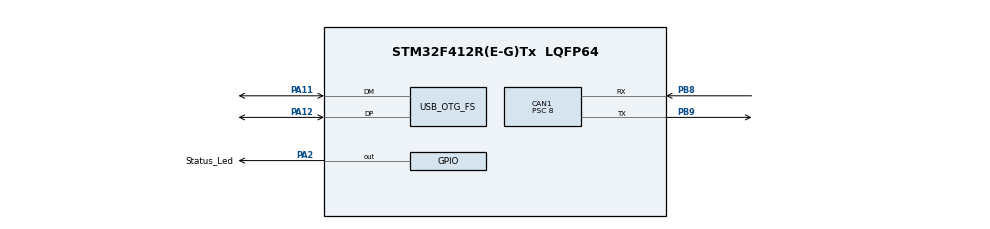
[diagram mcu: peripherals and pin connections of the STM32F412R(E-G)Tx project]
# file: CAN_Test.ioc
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CAN1.BS1=CAN_BS1_2TQ
CAN1.CalculateBaudRate=500000
CAN1.CalculateTimeBit=2000
CAN1.CalculateTimeQuantum=500.0
CAN1.Mode=CAN_MODE_NORMAL
CAN1.NART=ENABLE
CAN1.Prescaler=8
CAN1.TXFP=ENABLE
Mcu.Family=STM32F4
Mcu.Name=STM32F412R(E-G)Tx
Mcu.Package=LQFP64
NVIC.CAN1_RX0_IRQn=true\:0\:0\:false\:false\:true\:true\:true\:true
NVIC.PriorityGroup=NVIC_PRIORITYGROUP_4
PA11.Mode=Device_Only
PA11.Signal=USB_OTG_FS_DM
PA12.Mode=Device_Only
PA12.Signal=USB_OTG_FS_DP
PA13.Mode=Trace_Asynchronous_SW
PA13.Signal=SYS_JTMS-SWDIO
PA14.Mode=Trace_Asynchronous_SW
PA14.Signal=SYS_JTCK-SWCLK
PA2.GPIO_Label=Status_Led
PA2.Signal=GPIO_Output
PB3.Mode=Trace_Asynchronous_SW
PB3.Signal=SYS_JTDO-SWO
PB8.Mode=CAN_Activate
PB8.Signal=CAN1_RX
PB9.Mode=CAN_Activate
PB9.Signal=CAN1_TX
PH0\ -\ OSC_IN.Mode=HSE-External-Oscillator
PH0\ -\ OSC_IN.Signal=RCC_OSC_IN
PH1\ -\ OSC_OUT.Mode=HSE-External-Oscillator
PH1\ -\ OSC_OUT.Signal=RCC_OSC_OUT
ProjectManager.HeapSize=0x200
ProjectManager.StackSize=0x400
ProjectManager.TargetToolchain=STM32CubeIDE
RCC.CortexFreq_Value=16000000
RCC.PLLM=15
RCC.PLLN=144
RCC.PLLQ=5
RCC.USBFreq_Value=48000000
RCC.VCOOutputFreq_Value=240000000
USB_OTG_FS.VirtualMode=Device_Only
board=custom

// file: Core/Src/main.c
/* USER CODE BEGIN Header */
/**
  ******************************************************************************
  * @file           : main.c
  * @brief          : Main program body
  ******************************************************************************
  * @attention
  *
  * Copyright (c) 2022 STMicroelectronics.
  * All rights reserved.
  *
  * This software is licensed under terms that can be found in the LICENSE file
  * in the root directory of this software component.
  * If no LICENSE file comes with this software, it is provided AS-IS.
  *
  ******************************************************************************
  */
/* USER CODE END Header */
#include "main.h"

/* USER CODE BEGIN PD */
#define MASTER
//#define SLAVE
/* USER CODE END PD */

CAN_HandleTypeDef hcan1;

PCD_HandleTypeDef hpcd_USB_OTG_FS;

void SystemClock_Config(void);
static void MX_GPIO_Init(void);
static void MX_CAN1_Init(void);
static void MX_USB_OTG_FS_PCD_Init(void);

/* USER CODE BEGIN 0 */
CAN_TxHeaderTypeDef	TxHeader;
CAN_RxHeaderTypeDef RxHeader;
uint8_t TxData[8];
uint8_t RxData[8];

uint32_t TxMailbox;

/* USER CODE END 0 */

int main(void)
{

  /* MCU Configuration--------------------------------------------------------*/

  /* Reset of all peripherals, Initializes the Flash interface and the Systick. */
  HAL_Init();

  /* Configure the system clock */
  SystemClock_Config();

  /* Initialize all configured peripherals */
  MX_GPIO_Init();
  MX_CAN1_Init();
  MX_USB_OTG_FS_PCD_Init();
  /* USER CODE BEGIN 2 */
  HAL_CAN_Start(&hcan1);

  HAL_CAN_ActivateNotification(&hcan1,CAN_IT_RX_FIFO0_MSG_PENDING);
  HAL_GPIO_WritePin(GPIOA,GPIO_PIN_2,SET);
  HAL_Delay(500);
  HAL_GPIO_WritePin(GPIOA,GPIO_PIN_2,RESET);
  HAL_Delay(500);
  TxHeader.DLC = 2;  // data length
  TxHeader.IDE = CAN_ID_STD;
  TxHeader.RTR = CAN_RTR_DATA;
  TxData[0] = 0x10;
  TxData[1] = 0x11;

#ifdef MASTER
  TxHeader.StdId = 0x103;  // ID
  HAL_GPIO_WritePin(GPIOA,GPIO_PIN_2,SET);
  HAL_CAN_AddTxMessage(&hcan1,&TxHeader,TxData,&TxMailbox);
#else
  TxHeader.StdId = 0x446;  // ID
#endif
  /* USER CODE END 2 */
uint32_t No_Msgs;
uint32_t No1_Msgs;
  /* Infinite loop */
  while (1)
  {
#ifdef MASTER
	  HAL_Delay(1000);
	  HAL_CAN_AddTxMessage(&hcan1,&TxHeader,TxData,&TxMailbox);
#else
	  /*No_Msgs = HAL_CAN_GetRxFifoFillLevel(&hcan1,CAN_RX_FIFO0);
	  No1_Msgs = HAL_CAN_GetRxFifoFillLevel(&hcan1,CAN_RX_FIFO1);
	  if (No_Msgs > 0 ){
		  HAL_CAN_GetRxMessage(&hcan1,CAN_RX_FIFO0, &RxHeader, RxData);

	  if (RxHeader.DLC > 1)
	  {
		  if (RxData[0] == 0x10)
			  	HAL_GPIO_TogglePin(GPIOA,GPIO_PIN_2);
	  }
  }*/
	 // HAL_Delay(2000);

#endif
  }
}

void SystemClock_Config(void)
{
  RCC_OscInitTypeDef RCC_OscInitStruct = {0};
  RCC_ClkInitTypeDef RCC_ClkInitStruct = {0};

  /** Configure the main internal regulator output voltage
  */
  __HAL_RCC_PWR_CLK_ENABLE();
  __HAL_PWR_VOLTAGESCALING_CONFIG(PWR_REGULATOR_VOLTAGE_SCALE1);

  /** Initializes the RCC Oscillators according to the specified parameters
  * in the RCC_OscInitTypeDef structure.
  */
  RCC_OscInitStruct.OscillatorType = RCC_OSCILLATORTYPE_HSI|RCC_OSCILLATORTYPE_HSE;
  RCC_OscInitStruct.HSEState = RCC_HSE_ON;
  RCC_OscInitStruct.HSIState = RCC_HSI_ON;
  RCC_OscInitStruct.HSICalibrationValue = RCC_HSICALIBRATION_DEFAULT;
  RCC_OscInitStruct.PLL.PLLState = RCC_PLL_ON;
  RCC_OscInitStruct.PLL.PLLSource = RCC_PLLSOURCE_HSE;
  RCC_OscInitStruct.PLL.PLLM = 15;
  RCC_OscInitStruct.PLL.PLLN = 144;
  RCC_OscInitStruct.PLL.PLLP = RCC_PLLP_DIV2;
  RCC_OscInitStruct.PLL.PLLQ = 5;
  RCC_OscInitStruct.PLL.PLLR = 2;
  if (HAL_RCC_OscConfig(&RCC_OscInitStruct) != HAL_OK)
  {
    Error_Handler();
  }

  /** Initializes the CPU, AHB and APB buses clocks
  */
  RCC_ClkInitStruct.ClockType = RCC_CLOCKTYPE_HCLK|RCC_CLOCKTYPE_SYSCLK
                              |RCC_CLOCKTYPE_PCLK1|RCC_CLOCKTYPE_PCLK2;
  RCC_ClkInitStruct.SYSCLKSource = RCC_SYSCLKSOURCE_HSI;
  RCC_ClkInitStruct.AHBCLKDivider = RCC_SYSCLK_DIV1;
  RCC_ClkInitStruct.APB1CLKDivider = RCC_HCLK_DIV1;
  RCC_ClkInitStruct.APB2CLKDivider = RCC_HCLK_DIV1;

  if (HAL_RCC_ClockConfig(&RCC_ClkInitStruct, FLASH_LATENCY_0) != HAL_OK)
  {
    Error_Handler();
  }
}

static void MX_CAN1_Init(void)
{

  hcan1.Instance = CAN1;
  hcan1.Init.Prescaler = 8;
  hcan1.Init.Mode = CAN_MODE_NORMAL;
  hcan1.Init.SyncJumpWidth = CAN_SJW_1TQ;
  hcan1.Init.TimeSeg1 = CAN_BS1_2TQ;
  hcan1.Init.TimeSeg2 = CAN_BS2_1TQ;
  hcan1.Init.TimeTriggeredMode = DISABLE;
  hcan1.Init.AutoBusOff = DISABLE;
  hcan1.Init.AutoWakeUp = DISABLE;
  hcan1.Init.AutoRetransmission = ENABLE;
  hcan1.Init.ReceiveFifoLocked = DISABLE;
  hcan1.Init.TransmitFifoPriority = ENABLE;
  if (HAL_CAN_Init(&hcan1) != HAL_OK)
  {
    Error_Handler();
  }
  /* USER CODE BEGIN CAN1_Init 2 */
  CAN_FilterTypeDef canfilterconfig;

	canfilterconfig.FilterActivation = CAN_FILTER_ENABLE;
	canfilterconfig.FilterBank = 18;  // which filter bank to use from the assigned ones
	canfilterconfig.FilterFIFOAssignment = CAN_FILTER_FIFO0;
#ifdef MASTER
	canfilterconfig.FilterIdHigh = 0x800<<5;
	canfilterconfig.FilterIdLow = 0;
	canfilterconfig.FilterMaskIdHigh = 0x000<<5;
#else
	canfilterconfig.FilterIdHigh = 0x103<<5;
	canfilterconfig.FilterIdLow = 0;
	canfilterconfig.FilterMaskIdHigh = 0x103<<5;

#endif
	canfilterconfig.FilterMaskIdLow = 0x0000;
	canfilterconfig.FilterMode = CAN_FILTERMODE_IDMASK;
	canfilterconfig.FilterScale = CAN_FILTERSCALE_32BIT;
	canfilterconfig.SlaveStartFilterBank = 20;  // how many filters to assign to the CAN1 (master can)

	HAL_CAN_ConfigFilter(&hcan1, &canfilterconfig);
  /* USER CODE END CAN1_Init 2 */

}

static void MX_USB_OTG_FS_PCD_Init(void)
{

  hpcd_USB_OTG_FS.Instance = USB_OTG_FS;
  hpcd_USB_OTG_FS.Init.dev_endpoints = 6;
  hpcd_USB_OTG_FS.Init.speed = PCD_SPEED_FULL;
  hpcd_USB_OTG_FS.Init.dma_enable = DISABLE;
  hpcd_USB_OTG_FS.Init.phy_itface = PCD_PHY_EMBEDDED;
  hpcd_USB_OTG_FS.Init.Sof_enable = DISABLE;
  hpcd_USB_OTG_FS.Init.low_power_enable = DISABLE;
  hpcd_USB_OTG_FS.Init.lpm_enable = DISABLE;
  hpcd_USB_OTG_FS.Init.battery_charging_enable = DISABLE;
  hpcd_USB_OTG_FS.Init.vbus_sensing_enable = DISABLE;
  hpcd_USB_OTG_FS.Init.use_dedicated_ep1 = DISABLE;
  if (HAL_PCD_Init(&hpcd_USB_OTG_FS) != HAL_OK)
  {
    Error_Handler();
  }

}

static void MX_GPIO_Init(void)
{
  GPIO_InitTypeDef GPIO_InitStruct = {0};

  /* GPIO Ports Clock Enable */
  __HAL_RCC_GPIOH_CLK_ENABLE();
  __HAL_RCC_GPIOA_CLK_ENABLE();
  __HAL_RCC_GPIOB_CLK_ENABLE();

  /*Configure GPIO pin Output Level */
  HAL_GPIO_WritePin(Status_Led_GPIO_Port, Status_Led_Pin, GPIO_PIN_RESET);

  /*Configure GPIO pin : Status_Led_Pin */
  GPIO_InitStruct.Pin = Status_Led_Pin;
  GPIO_InitStruct.Mode = GPIO_MODE_OUTPUT_PP;
  GPIO_InitStruct.Pull = GPIO_NOPULL;
  GPIO_InitStruct.Speed = GPIO_SPEED_FREQ_LOW;
  HAL_GPIO_Init(Status_Led_GPIO_Port, &GPIO_InitStruct);

}

/* USER CODE BEGIN 4 */
void HAL_CAN_RxFifo0MsgPendingCallback(CAN_HandleTypeDef *hcan)
{
	HAL_GPIO_TogglePin(GPIOA,GPIO_PIN_2);
	HAL_CAN_GetRxMessage(&hcan1,CAN_RX_FIFO0, &RxHeader, RxData);
	//HAL_Delay(10);
	//HAL_CAN_AddTxMessage(&hcan1,&TxHeader,TxData,&TxMailbox);
}
/* USER CODE END 4 */

void Error_Handler(void)
{
  __disable_irq();
  while (1)
  {
  }
}
